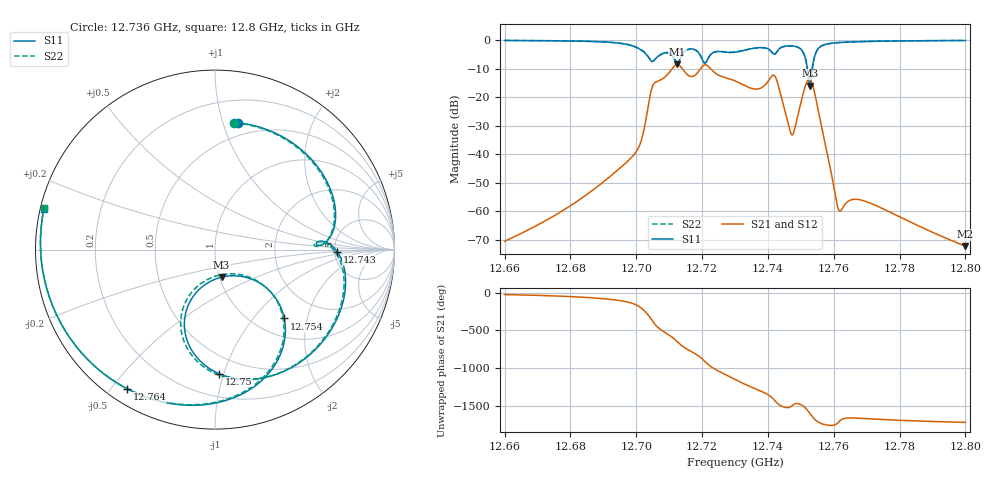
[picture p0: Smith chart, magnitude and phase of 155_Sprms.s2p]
! TOUCHSTONE file generated by CST MICROWAVE STUDIO
! Date and time: Wed Jul 31 18:40:24 2024
! Project name: WaveGuide_BPF-Ver4.1_U-shape_Ku_T3_C4_CWA_2.cst
! Parameters = {cavity_h=16; cavity_l0=10; cavity_l1=15.1976; cavity_l2=16.8618; cavity_l3=17.1119; cavity_l4=17.234; cavity_l5=17.1671; cavity_l6=17.6124; cavity_r=2.5; cavity_screw_l=0.5; cavity_screw_r=1.5; cavity_w=8; iris_h00=0; iris_h01=8.8118; iris_h112=0; iris_h12=5.601; iris_h211=3.6621; ir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
! Header version: 2018
! Port assignment regex: !\s*Touchstone port\s*([0-9]+)\s*=\s*(CST MWS port|CST DS port)\s*([0-9]+|Zmin|Zmax)\s*\(\"(.*)\"\)(\s*mode\s*([0-9]+))?.*
! Touchstone port assignment:
! Touchstone port 1 = CST MWS port 1 ("")
! Touchstone port 2 = CST MWS port 2 ("")
# GHz S RI R 50
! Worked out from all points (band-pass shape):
!   5001 points, 12.66 GHz to 12.8 GHz, reference 50 ohm
!   highest |S21| = -8.57 dB at 12.713 GHz (marker M1); lowest = -72.2 dB at 12.8 GHz (marker M2)
!   |S21| within 3 dB of the highest: 12.7099 GHz to 12.71501 GHz (5.117 MHz wide, 0.0402 % of centre); 12.71855 GHz to 12.72399 GHz (5.433 MHz wide, 0.0427 % of centre)
!   lowest |S11| = -16.0 dB at 12.753 GHz (marker M3), VSWR 1.38, Z = 51.2 - j16.1 ohm
!   |S11| at or under -10 dB: 12.75199 GHz to 12.75347 GHz (1.487 MHz wide, 0.0117 % of centre)
!   |S22| runs from -16.8 to -0.2 dB; largest |S21 - S12| = 1e-09
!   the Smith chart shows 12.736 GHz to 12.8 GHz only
!   S11 on the Smith chart (normalised r, x): 12.736 GHz: 0.38, +1.12; 12.743 GHz: 5.28, -0.27; 12.75 GHz: 0.36, -0.96; 12.754 GHz: 1.34, -1.46; 12.764 GHz: 0.06, -0.55; 12.8 GHz: 0.01, +0.12
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12.66  0.301 0.9338  0.000276 -0.000113  0.000276 -0.000113  0.3083 0.9314
12.68335  0.7317 0.6116  0.000917 -0.00141  0.000917 -0.00141  0.7396 0.6017
12.69542  0.8647 -0.0969  -0.00163 -0.00572  -0.00163 -0.00572  0.8649 -0.1086
12.70113  0.2317 -0.6458  -0.0147 0.00246  -0.0147 0.00246  0.2453 -0.6514
12.70668  -0.4825 0.1967  -0.0418 -0.1864  -0.0418 -0.1864  -0.4925 0.1488
12.7125  0.1671 0.3695  0.1277 0.3502  0.1277 0.3502  0.1503 0.3541
12.71835  0.6437 0.0755  -0.0492 -0.2514  -0.0492 -0.2514  0.6402 0.072
12.72339  0.5519 -0.2416  0.0519 0.277  0.0519 0.277  0.5424 -0.2613
12.72678  -0.00659 -0.6154  0.2217 0.00174  0.2217 0.00174  -0.0242 -0.6205
12.73  -0.5902 -0.1526  0.0636 -0.1816  0.0636 -0.1816  -0.5965 -0.1602
12.73577  0.1264 0.7069  -0.1377 0.0172  -0.1377 0.0172  0.1068 0.7067
12.74322  0.6821 -0.0135  0.1164 -0.1012  0.1164 -0.1012  0.6736 -0.0175
12.74722  0.497 -0.611  0.00999 -0.0195  0.00999 -0.0195  0.4753 -0.623
12.75002  0.0225 -0.6912  0.0563 -0.057  0.0563 -0.057  -0.0102 -0.6852
12.75274  0.0363 -0.1538  -0.1941 -0.0657  -0.1941 -0.0657  0.0346 -0.14
12.75335  0.2208 -0.1716  -0.1714 0.0528  -0.1714 0.0528  0.2197 -0.1661
12.7543  0.3858 -0.3838  -0.0493 0.0997  -0.0493 0.0997  0.3799 -0.385
12.76119  -0.2986 -0.8472  0.000403 0.00112  0.000403 0.00112  -0.3177 -0.8405
12.76385  -0.4884 -0.7763  -0.00101 0.000974  -0.00101 0.000974  -0.5057 -0.7659
12.77668  -0.9027 -0.3182  -0.000385 0.000911  -0.000385 0.000911  -0.9084 -0.3037
12.79994  -0.9535 0.2253  4.42e-05 0.000241  4.42e-05 0.000241  -0.9516 0.2344
12.8  -0.9533 0.2262  4.43e-05 0.00024  4.43e-05 0.00024  -0.9514 0.2353
